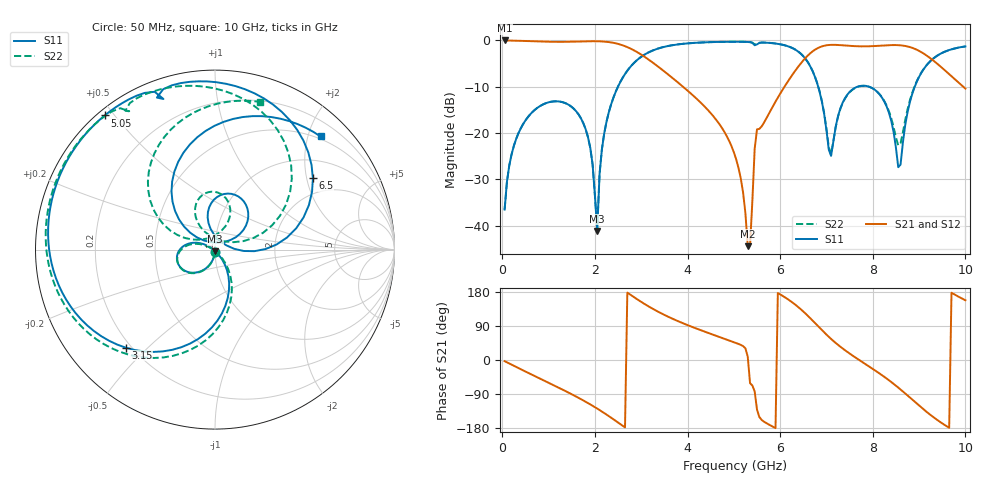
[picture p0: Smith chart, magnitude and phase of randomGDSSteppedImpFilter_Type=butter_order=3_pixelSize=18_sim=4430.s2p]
! freq	dB(S11)	phase(S11)	dB(S12)	phase(S12)
!  dB(S21)	phase(S21)	dB(S22)	phase(S22)
!S-par simulation data
#  GHz  S  DB  R 50
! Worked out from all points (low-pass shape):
!   200 points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, 50 MHz to 10 GHz, reference 50 ohm
!   highest |S21| = -0.01 dB at 50 MHz (marker M1); lowest = -44.4 dB at 5.3 GHz (marker M2)
!   |S21| within 3 dB of the highest: start of sweep to 2.991 GHz; 6.625 GHz to 9.125 GHz (2.5 GHz wide, 31.7 % of centre)
!   lowest |S11| = -41.1 dB at 2.05 GHz (marker M3), VSWR 1.02, Z = 50 - j0.88 ohm
!   |S11| at or under -10 dB: start of sweep to 2.497 GHz; 6.821 GHz to 7.669 GHz (848.1 MHz wide, 11.7 % of centre); 7.923 GHz to 8.906 GHz (983.7 MHz wide, 11.7 % of centre)
!   |S22| runs from -40.6 to -0.3 dB; largest |S21 - S12| = 0
!   S11 on the Smith chart (normalised r, x): 50 MHz: 1.00, -0.03; 3.15 GHz: 0.18, -0.43; 5.05 GHz: 0.02, +0.47; 6.5 GHz: 1.50, +2.18; 10 GHz: 0.45, +2.22
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0.05  -36.52 -92.9  -0.01 -3.1  -0.01 -3.1  -36.52 -92.8
0.2  -24.61 -102.5  -0.04 -12.3  -0.04 -12.3  -24.61 -102.1
0.6  -15.99 -127.4  -0.16 -36.4  -0.16 -36.4  -15.99 -126.3
1.75  -17.87 162.7  -0.21 -106.7  -0.21 -106.7  -17.88 165.9
1.95  -26.74 152.9  -0.17 -120.8  -0.17 -120.8  -26.77 157.0
2.05  -41.11 -86.8  -0.18 -128.2  -0.18 -128.2  -40.56 -84.4
2.15  -23.59 -54.1  -0.22 -136.0  -0.22 -136.0  -23.54 -50.8
2.3  -15.52 -63.4  -0.35 -148.1  -0.35 -148.1  -15.50 -59.6
3.15  -2.63 -132.3  -4.07 142.1  -4.07 142.1  -2.62 -126.5
3.4  -1.64 -149.3  -5.92 125.2  -5.92 125.2  -1.63 -142.9
5.05  -0.29 129.4  -25.66 44.8  -25.66 44.8  -0.28 140.6
5.3  -0.33 117.1  -44.42 8.9  -44.42 8.9  -0.31 129.3
5.35  -0.38 114.2  -44.25 -61.2  -44.25 -61.2  -0.35 126.7
5.5  -0.85 110.9  -19.21 -130.8  -19.21 -130.8  -0.72 122.8
6.5  -3.42 36.1  -4.31 128.0  -4.31 128.0  -3.39 52.8
6.7  -6.61 14.6  -2.37 104.1  -2.37 104.1  -6.56 32.5
7.1  -24.92 65.0  -0.95 55.6  -0.95 55.6  -24.59 80.8
7.55  -10.67 87.8  -1.20 12.8  -1.20 12.8  -10.73 109.4
8.35  -15.63 32.3  -1.03 -53.5  -1.03 -53.5  -15.31 64.9
8.55  -27.37 65.0  -1.02 -72.8  -1.02 -72.8  -22.65 100.9
9.05  -6.97 122.2  -2.54 -125.4  -2.54 -125.4  -6.91 143.0
10  -1.29 47.0  -10.41 157.6  -10.41 157.6  -1.30 73.1
